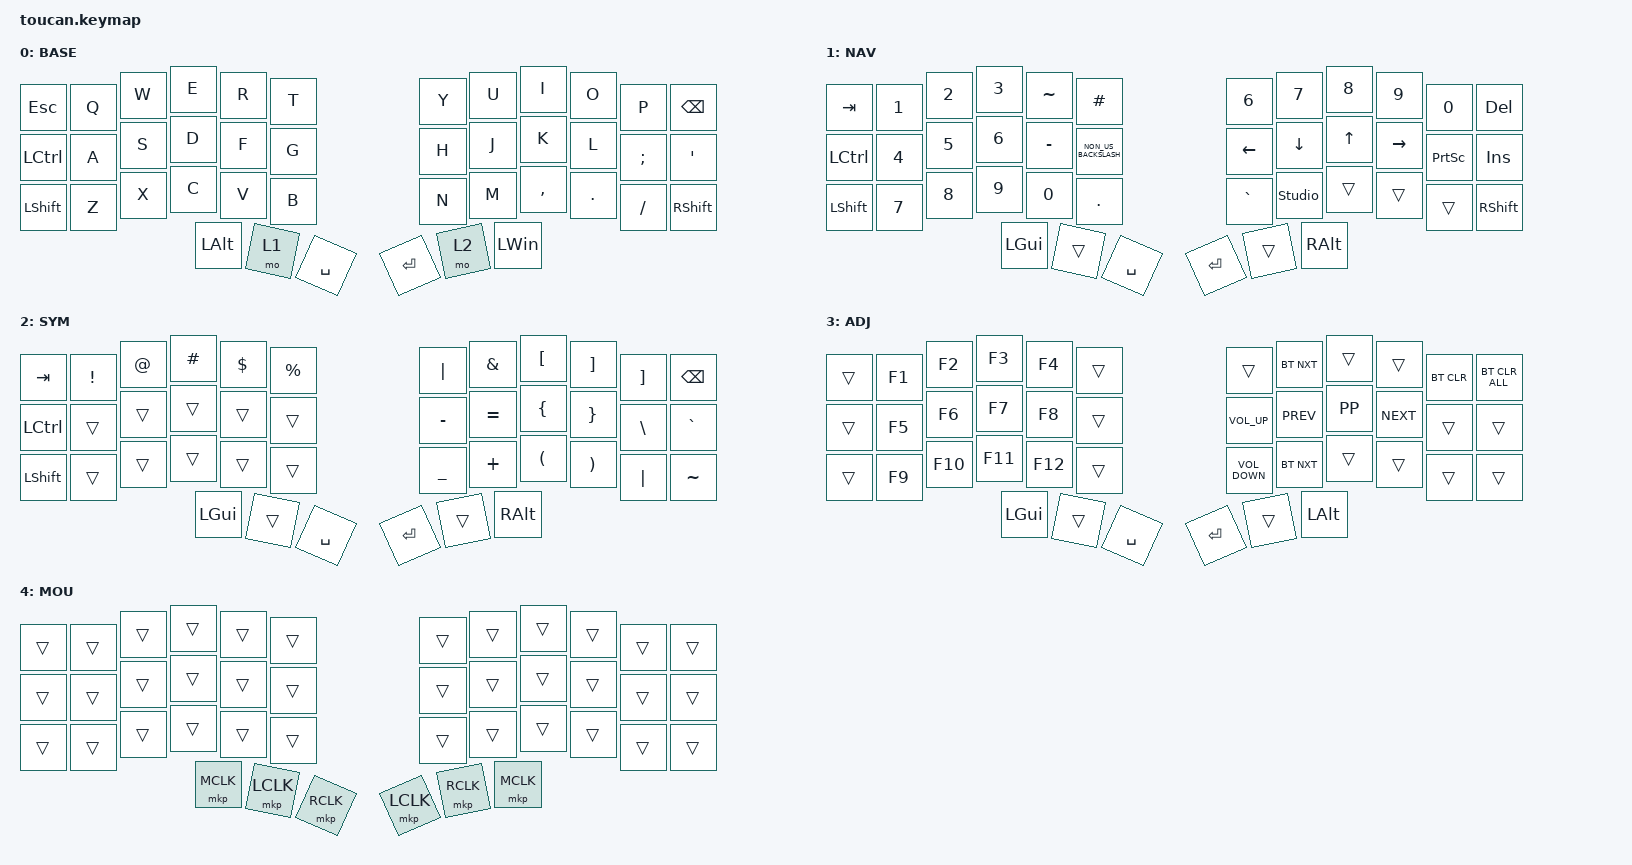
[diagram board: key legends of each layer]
#include <behaviors.dtsi>
#include <dt-bindings/zmk/keys.h>
#include <dt-bindings/zmk/bt.h>
#include <dt-bindings/zmk/outputs.h>
#include <dt-bindings/zmk/pointing.h>

#define BASE 0
#define NAV  1
#define SYM  2
#define ADJ  3

/ {
    conditional_layers {
        compatible = "zmk,conditional-layers";
        tri_layer {
            if-layers = <1 2>;
            then-layer = <3>;
        };
    };

    keymap {
        compatible = "zmk,keymap";

        base {
            display-name = "BASE";
            bindings = <
                &kp ESCAPE  &kp Q  &kp W  &kp E         &kp R  &kp T        &kp Y    &kp U  &kp I      &kp O    &kp P     &kp BSPC
                &kp LCTRL   &kp A  &kp S  &kp D         &kp F  &kp G        &kp H    &kp J  &kp K      &kp L    &kp SEMI  &kp SQT
                &kp LSHFT   &kp Z  &kp X  &kp C         &kp V  &kp B        &kp N    &kp M  &kp COMMA  &kp DOT  &kp FSLH  &kp RSHFT
                                          &kp LEFT_ALT  &mo 1  &kp SPACE    &kp RET  &mo 2  &kp LWIN
            >;
        };

        nav {
            display-name = "NAV";
            bindings = <
                &kp TAB    &kp N1  &kp N2  &kp N3        &kp TILDE  &kp HASH                &kp N6     &kp N7            &kp N8    &kp N9     &kp N0           &kp DELETE
                &kp LCTRL  &kp N4  &kp N5  &kp NUMBER_6  &kp MINUS  &kp NON_US_BACKSLASH    &kp LEFT   &kp DOWN          &kp UP    &kp RIGHT  &kp PRINTSCREEN  &kp INS
                &kp LSHFT  &kp N7  &kp N8  &kp N9        &kp N0     &kp PERIOD              &kp GRAVE  &studio_unlock    &trans    &trans     &trans           &kp RSHIFT
                                           &kp LGUI      &trans     &kp SPACE               &kp RET    &trans         &kp RALT
            >;
        };

        sym {
            display-name = "SYM";
            bindings = <
                &kp TAB    &kp EXCL  &kp AT  &kp HASH  &kp DLLR  &kp PRCNT    &kp PIPE   &kp AMPS   &kp LEFT_BRACKET      &kp RIGHT_BRACKET      &kp RIGHT_BRACKET  &kp BSPC
                &kp LCTRL  &trans    &trans  &trans    &trans    &trans       &kp MINUS  &kp EQUAL  &kp LEFT_BRACE        &kp RIGHT_BRACE        &kp BSLH           &kp GRAVE
                &kp LSHFT  &trans    &trans  &trans    &trans    &trans       &kp UNDER  &kp PLUS   &kp LEFT_PARENTHESIS  &kp RIGHT_PARENTHESIS  &kp PIPE           &kp TILDE
                                             &kp LGUI  &trans     &kp SPACE    &kp RET    &trans     &kp RALT
            >;
        };

        adj {
            display-name = "ADJ";
            bindings = <
                &trans  &kp F1  &kp F2   &kp F3    &kp F4   &trans       &trans             &bt BT_NXT  &trans    &trans     &bt BT_CLR  &bt BT_CLR_ALL
                &trans  &kp F5  &kp F6   &kp F7    &kp F8   &trans       &kp C_VOLUME_UP    &kp K_PREV  &kp K_PP  &kp K_NEXT &trans      &trans
                &trans  &kp F9  &kp F10  &kp F11   &kp F12  &trans       &kp K_VOLUME_DOWN  &bt BT_NXT  &trans    &trans     &trans      &trans
                                         &kp LGUI  &trans   &kp SPACE    &kp ENTER          &trans      &kp LALT
            >;
        };

        mouse {
            display-name = "MOU";
            bindings = <
                &trans &trans &trans &trans &trans &trans           &trans &trans &trans &trans &trans &trans
                &trans &trans &trans &trans &trans &trans           &trans &trans &trans &trans &trans &trans
                &trans &trans &trans &trans &trans &trans           &trans &trans &trans &trans &trans &trans
                            &mkp MCLK &mkp LCLK &mkp RCLK           &mkp LCLK &mkp RCLK &mkp MCLK
            >;
        };

        extra_2 {
                status = "reserved";
        };

        extra_3 {
                status = "reserved";
        };
    };
};
